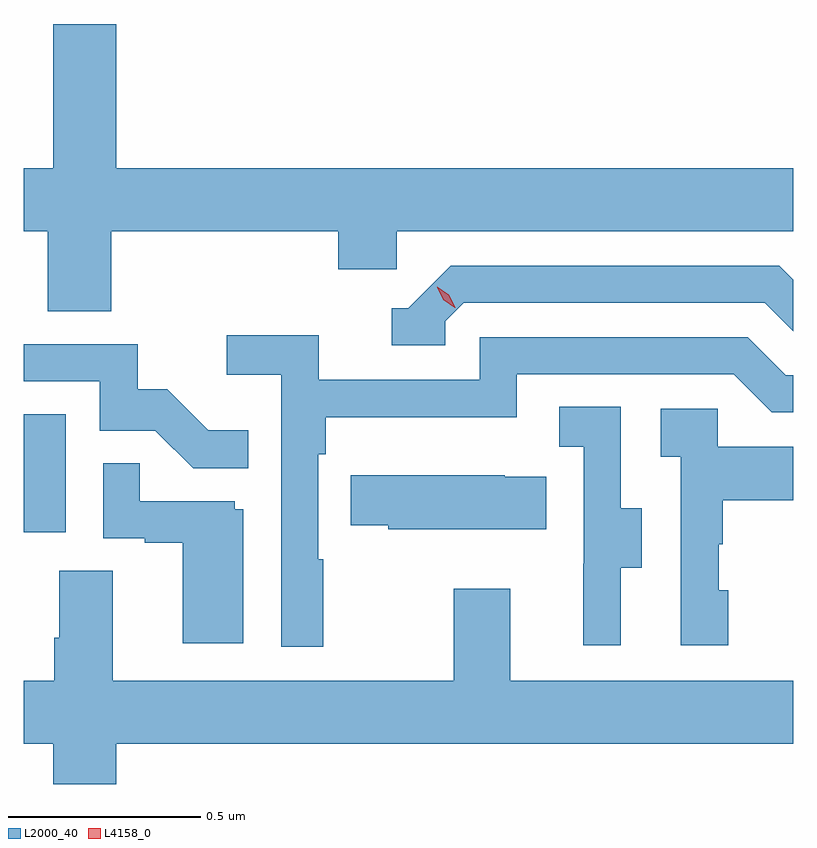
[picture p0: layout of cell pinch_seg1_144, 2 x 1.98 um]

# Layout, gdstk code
import gdstk
lib = gdstk.Library(unit=1e-6, precision=1e-09)
def R(c, l, rs):  # rectangles x0, y0, x1, y1
    for r in rs: c.add(gdstk.rectangle(r[:2], r[2:], *l))
def P(c, l, *ps):  # polygons
    for p in ps: c.add(gdstk.Polygon(p, *l))
L2000_40 = (2000, 40)
L4158_0 = (4158, 0)

pinch_seg1_144 = lib.new_cell('pinch_seg1_144')
R(pinch_seg1_144, L2000_40, [(1141.953,548.286,1142.062,548.593)])
P(pinch_seg1_144, L2000_40, [(1142.18,549.068),(1142.771,549.068),(1142.771,548.97),(1142.922,548.97),(1142.922,549.068),(1143.953,549.068),(1143.953,549.232),(1142.194,549.232),(1142.194,549.607),(1142.03,549.607),(1142.03,549.232),(1141.953,549.232),(1141.953,549.068),(1142.015,549.068),(1142.015,548.86),(1142.18,548.86)],
  [(1143.048,548.835),(1143.096,548.883),(1143.879,548.883),(1143.953,548.809),(1143.953,548.942),(1143.916,548.979),(1143.063,548.979),(1142.952,548.868),(1142.909,548.868),(1142.909,548.772),(1143.048,548.772)],
  [(1142.731,548.216),(1142.718,548.216),(1142.718,548.489),(1142.738,548.489),(1142.738,548.585),(1143.234,548.585),(1143.234,548.697),(1143.798,548.697),(1143.897,548.598),(1143.953,548.598),(1143.953,548.694),(1143.934,548.694),(1143.835,548.793),(1143.138,548.793),(1143.138,548.682),(1142.72,548.682),(1142.72,548.798),(1142.481,548.798),(1142.481,548.696),(1142.622,548.696),(1142.622,547.989),(1142.731,547.989)],
  [(1142.537,548.551),(1142.433,548.551),(1142.326,548.658),(1142.25,548.658),(1142.25,548.775),(1141.953,548.775),(1141.953,548.679),(1142.151,548.679),(1142.151,548.55),(1142.295,548.55),(1142.393,548.452),(1142.537,548.452)],
  [(1143.505,548.194),(1143.559,548.194),(1143.559,548.349),(1143.504,548.349),(1143.504,548.612),(1143.345,548.612),(1143.345,548.509),(1143.408,548.509),(1143.408,548.205),(1143.407,548.205),(1143.407,547.992),(1143.505,547.992)],
  [(1143.784,548.136),(1143.759,548.136),(1143.759,548.255),(1143.769,548.255),(1143.769,548.369),(1143.953,548.369),(1143.953,548.509),(1143.756,548.509),(1143.756,548.607),(1143.609,548.607),(1143.609,548.483),(1143.66,548.483),(1143.66,547.992),(1143.784,547.992)],
  [(1142.524,548.346),(1142.502,548.346),(1142.502,548.367),(1142.255,548.367),(1142.255,548.465),(1142.16,548.465),(1142.16,548.271),(1142.267,548.271),(1142.267,548.259),(1142.366,548.259),(1142.366,547.998),(1142.524,547.998)],
  [(1143.311,548.431),(1143.203,548.431),(1143.203,548.434),(1142.803,548.434),(1142.803,548.305),(1142.901,548.305),(1142.901,548.294),(1143.311,548.294)],
  [(1142.194,547.736),(1143.953,547.736),(1143.953,547.9),(1143.217,547.9),(1143.217,548.14),(1143.07,548.14),(1143.07,547.9),(1142.185,547.9),(1142.185,548.186),(1142.045,548.186),(1142.045,548.012),(1142.033,548.012),(1142.033,547.9),(1141.953,547.9),(1141.953,547.736),(1142.03,547.736),(1142.03,547.632),(1142.194,547.632)])
P(pinch_seg1_144, L4158_0, [(1143.073,548.87),(1143.043,548.891),(1143.028,548.923),(1143.028,548.924),(1143.028,548.924),(1143.058,548.904),(1143.074,548.871),(1143.074,548.87)])

lib.write_gds('pinch_seg1_144.gds')
